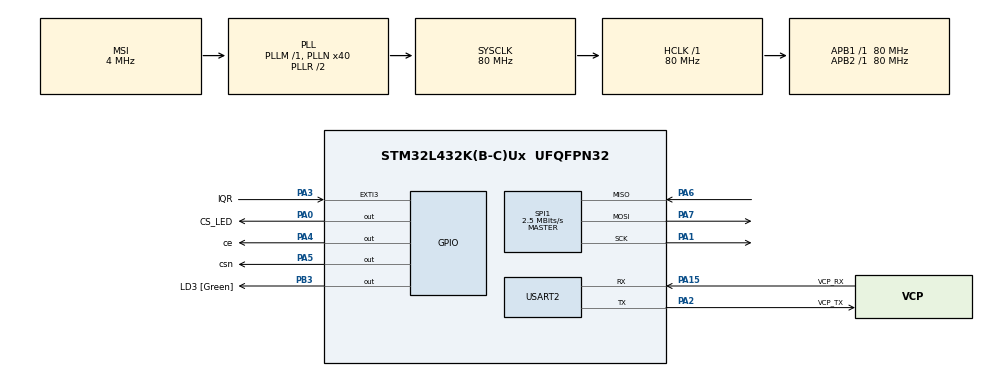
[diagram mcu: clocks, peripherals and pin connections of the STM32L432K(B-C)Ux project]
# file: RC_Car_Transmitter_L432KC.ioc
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Dma.Request0=USART2_RX
Dma.USART2_RX.0.Direction=DMA_PERIPH_TO_MEMORY
Dma.USART2_RX.0.Instance=DMA1_Channel6
Dma.USART2_RX.0.MemDataAlignment=DMA_MDATAALIGN_BYTE
Dma.USART2_RX.0.MemInc=DMA_MINC_ENABLE
Dma.USART2_RX.0.Mode=DMA_NORMAL
Dma.USART2_RX.0.PeriphDataAlignment=DMA_PDATAALIGN_BYTE
Dma.USART2_RX.0.PeriphInc=DMA_PINC_DISABLE
Dma.USART2_RX.0.Priority=DMA_PRIORITY_LOW
Mcu.Family=STM32L4
Mcu.Name=STM32L432K(B-C)Ux
Mcu.Package=UFQFPN32
NVIC.DMA1_Channel6_IRQn=true\:0\:0\:false\:false\:true\:false\:true\:true
NVIC.PriorityGroup=NVIC_PRIORITYGROUP_4
NVIC.TIM6_DAC_IRQn=true\:0\:0\:false\:false\:true\:true\:true\:true
NVIC.USART2_IRQn=true\:0\:0\:false\:false\:true\:true\:true\:true
PA0.GPIO_Label=CS_LED
PA0.PinState=GPIO_PIN_SET
PA0.Signal=GPIO_Output
PA1.Mode=Full_Duplex_Master
PA1.Signal=SPI1_SCK
PA13\ (JTMS-SWDIO).GPIO_Label=SWDIO
PA13\ (JTMS-SWDIO).Mode=Serial_Wire
PA13\ (JTMS-SWDIO).Signal=SYS_JTMS-SWDIO
PA14\ (JTCK-SWCLK).GPIO_Label=SWCLK
PA14\ (JTCK-SWCLK).Mode=Serial_Wire
PA14\ (JTCK-SWCLK).Signal=SYS_JTCK-SWCLK
PA15\ (JTDI).GPIO_Label=VCP_RX
PA15\ (JTDI).Mode=Asynchronous
PA15\ (JTDI).Signal=USART2_RX
PA2.GPIO_Label=VCP_TX
PA2.Mode=Asynchronous
PA2.Signal=USART2_TX
PA3.GPIO_Label=IQR
PA3.Signal=GPXTI3
PA4.GPIO_Label=ce
PA4.PinState=GPIO_PIN_SET
PA4.Signal=GPIO_Output
PA5.GPIO_Label=csn
PA5.PinState=GPIO_PIN_SET
PA5.Signal=GPIO_Output
PA6.Mode=Full_Duplex_Master
PA6.Signal=SPI1_MISO
PA7.Mode=Full_Duplex_Master
PA7.Signal=SPI1_MOSI
PB3\ (JTDO-TRACESWO).GPIO_Label=LD3 [Green]
PB3\ (JTDO-TRACESWO).Signal=GPIO_Output
PC14-OSC32_IN\ (PC14).Mode=LSE-External-Oscillator
PC14-OSC32_IN\ (PC14).Signal=RCC_OSC32_IN
PC15-OSC32_OUT\ (PC15).Mode=LSE-External-Oscillator
PC15-OSC32_OUT\ (PC15).Signal=RCC_OSC32_OUT
ProjectManager.HeapSize=0x200
ProjectManager.StackSize=0x400
ProjectManager.TargetToolchain=STM32CubeIDE
RCC.AHBFreq_Value=80000000
RCC.APB1Freq_Value=80000000
RCC.APB1TimFreq_Value=80000000
RCC.APB2Freq_Value=80000000
RCC.APB2TimFreq_Value=80000000
RCC.CortexFreq_Value=80000000
RCC.HCLKFreq_Value=80000000
RCC.HSE_VALUE=8000000
RCC.HSI16_VALUE=16000000
RCC.HSI48_VALUE=48000000
RCC.HSI_VALUE=16000000
RCC.MSI_VALUE=4000000
RCC.PLLMUL=RCC_PLLMUL_4
RCC.PLLN=40
RCC.SYSCLKFreq_VALUE=80000000
RCC.SYSCLKSource=RCC_SYSCLKSOURCE_PLLCLK
RCC.VCOOutputFreq_Value=160000000
SPI1.BaudRatePrescaler=SPI_BAUDRATEPRESCALER_32
SPI1.CalculateBaudRate=2.5 MBits/s
SPI1.DataSize=SPI_DATASIZE_8BIT
SPI1.Direction=SPI_DIRECTION_2LINES
SPI1.Mode=SPI_MODE_MASTER
SPI1.VirtualType=VM_MASTER
TIM6.Period=10000
TIM6.Prescaler=80-1
USART2.VirtualMode-Asynchronous=VM_ASYNC
VP_TIM6_VS_ClockSourceINT.Mode=Enable_Timer
board=NUCLEO-L432KC

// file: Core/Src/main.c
/* USER CODE BEGIN Header */
/**
  ******************************************************************************
  * @file           : main.c
  * @brief          : Main program body
  ******************************************************************************
  * @attention
  *
  * Copyright (c) 2025 STMicroelectronics.
  * All rights reserved.
  *
  * This software is licensed under terms that can be found in the LICENSE file
  * in the root directory of this software component.
  * If no LICENSE file comes with this software, it is provided AS-IS.
  *
  ******************************************************************************
  */
/* USER CODE END Header */
#include "main.h"

/* USER CODE BEGIN Includes */
#include <string.h>
#include <stdint.h>
#include <stdio.h>
#include <stdlib.h>
#include "NRF24_conf.h"
#include "NRF24_reg_addresses.h"
#include "NRF24.h"
#include "delay.h" // Include delay.h for delay functions
#include "commandReader.h"
/* USER CODE END Includes */

/* USER CODE BEGIN PTD */
#define PLD_S 32
struct UART_Comm
{
	uint8_t RxCmd[PLD_S]; // This will store the received command as a string, which will be parsed to determine the action and parameters to store under the DataToReceive structure.
	uint8_t cmdToTransmit[PLD_S]; // This will store the command to be transmitted as a string, which will be constructed from the DataToTransmit structure and sent through NRF24L01.
	uint8_t UART_Rx_Buffer[PLD_S]; // This buffer will be used for DMA reception of UART data, which will then be copied to RxCmd for processing.
	uint8_t TxData[PLD_S]; // This will store the data to be transmitted as a string, which will be constructed from the DataToTransmit structure and sent through UART.
};

struct RC_CarDataRx
{
   // Disregarding the cmd, all the variables byte size should add up to 18-20bytes
	uint8_t cmd[PLD_S]; // Will grab all the structure variables compress to string and transmit through NRF24L01
	int32_t a_x; // Store the acceleration in x-axis
    int32_t a_y; // Store the acceleration in y-axis
    int32_t a_z; // Store the acceleration in z-axis
    uint16_t distance_cm; // Store the distance measurement in centimeters
    char stationaryFlag;  // This is Flag to indicate back to the transmitter whether there is a stationary object when the car is accelerating.
    uint32_t timestamp; // in milliseconds

};

typedef enum
{
    STATE_WAIT,
    STATE_TRANSMIT,
	STATE_TEST_UART,
	STATE_RECEIVE
} FSM_State;
FSM_State current_state = STATE_WAIT;
/* USER CODE END PTD */

SPI_HandleTypeDef hspi1;

TIM_HandleTypeDef htim6;

UART_HandleTypeDef huart2;
DMA_HandleTypeDef hdma_usart2_rx;

/* USER CODE BEGIN PV */

//////  Commands Declarations  //////////////////////////////////////
struct RC_CarDataRx RC_Data = {0};    // This initializes all members to 0
struct UART_Comm Msg = {0}; // This initializes all members to 0

/* LED SPI Control */
#define OFF_LED_EXT     0x00
#define BLUE_LED_EXT    0x01
#define YELLOW_LED_EXT  0x02
#define GREEN_LED_EXT   0x04
#define RED_LED_EXT     0x08

// Payload Size

/* nRF24L01+ SPI Control */
uint8_t tx_addr[5] = {0x45, 0x55, 0x67, 0x10, 0x21};
uint16_t data = 0;
uint8_t toggleFlag = 0;

// For UART DMA reception
uint8_t UART2_rxBuffer[PLD_S]; // DMA buffer

/* USER CODE END PV */

void SystemClock_Config(void);
static void MX_GPIO_Init(void);
static void MX_DMA_Init(void);
static void MX_SPI1_Init(void);
static void MX_USART2_UART_Init(void);
static void MX_TIM6_Init(void);
/* USER CODE BEGIN PFP */
void nrf24_setup(void);
void shift_register_send(uint8_t data);

/* USER CODE END PFP */

/* USER CODE BEGIN 0 */
//  Set up NRF24L01

/* USER CODE END 0 */

int main(void)
{

  /* MCU Configuration--------------------------------------------------------*/

  /* Reset of all peripherals, Initializes the Flash interface and the Systick. */
  HAL_Init();

  /* Configure the system clock */
  SystemClock_Config();

  /* Initialize all configured peripherals */
  MX_GPIO_Init();
  MX_DMA_Init();
  MX_SPI1_Init();
  MX_USART2_UART_Init();
  MX_TIM6_Init();
  /* USER CODE BEGIN 2 */

  HAL_UART_Receive_DMA(&huart2, Msg.UART_Rx_Buffer, PLD_S); // Start UART reception in DMA mode, storing received data in the buffer for processing

  // Start Timer 6 in interrupt mode for LED toggling
  HAL_TIM_Base_Start_IT(&htim6);

  //  Set up NRF24L01
  shift_register_send(OFF_LED_EXT); // Only LED A ON
  HAL_Delay(500);
  shift_register_send(BLUE_LED_EXT); // Only LED A ON

  nrf24_setup();

  shift_register_send(OFF_LED_EXT); // Only LED A ON
  HAL_Delay(500);

  /* USER CODE END 2 */

  /* Infinite loop */
  while (1)
  {

    /* USER CODE BEGIN 3 */
	  switch (current_state)
	  {
	  case STATE_WAIT:
		  // Just wait firm-ever :)
		  // Just had to be very cheesey :p
		  break;

	  case STATE_TEST_UART:
		  // Here I will print a message to test UART functionality
		  char* test_msg = "UART DMA RX Test Successful!\r\n";
		  HAL_UART_Transmit(&huart2, (uint8_t*)test_msg, strlen(test_msg), HAL_MAX_DELAY);
		  HAL_Delay(1000);
//		  current_state = STATE_WAIT; // Return to WAIT state
		  break;

	  case STATE_RECEIVE:
		  // After transmitting data, the nRF24L01+ will switch to receive mode to wait for the RC car data,
		  // I'm gonna test the polling method.
		  if (nrf24_data_available())
		  {
			  shift_register_send(BLUE_LED_EXT || RED_LED_EXT); // Turn on LED when receiving
			  char RxData[PLD_S] = {0};
			  nrf24_receive(RC_Data.cmd, sizeof(RC_Data.cmd));
			  nrf24_clear_rx_dr(); // Clear the RX_DR flag after receiving data
			  memcpy(RxData, RC_Data.cmd, PLD_S);
			  uint8_t comma_index = 0;
			  char timeStamp_str[16] = {0};
			  char distance_str[16] = {0};
			  char a_x_str[16] = {0};
			  char a_y_str[16] = {0};
			  char a_z_str[16] = {0};
			  parse_uart_value(RxData, timeStamp_str,&comma_index);
			  parse_uart_value(RxData, distance_str,&comma_index);
			  parse_uart_value(RxData, a_x_str,&comma_index);
			  parse_uart_value(RxData, a_y_str,&comma_index);
			  parse_uart_value(RxData, a_z_str,&comma_index);
			  // The data received will be converted to the corresponding data type and stored in the Receive structure for further processing or decision making.
			  // For troubleshooting purpose.
			  RC_Data.timestamp = (uint32_t)atoi(timeStamp_str);
			  RC_Data.distance_cm = (uint16_t)atoi(distance_str);
			  RC_Data.a_x = (int32_t)atoi(a_x_str);
			  RC_Data.a_y = (int32_t)atoi(a_y_str);
			  RC_Data.a_z = (int32_t)atoi(a_z_str);
			  // Transmit the data to UART TX, so gui can read the data through serial communication and display it on the GUI.
//			  uint16_t len = snprintf((char *)Msg.TxData, sizeof(Msg.TxData), "Timestamp: %lu ms, Distance: %u cm, Acceleration: (%ld, %ld, %ld) mg\r\n", Receive.timestamp, Receive.distance_cm, Receive.a_x, Receive.a_y, Receive.a_z);
			  // Send the Receive.cmd
			  memcpy(Msg.TxData, RC_Data.cmd, PLD_S);
//			  HAL_UART_Transmit(&huart2, Msg.TxData, strlen((char *)Msg.TxData), HAL_MAX_DELAY);
			  current_state = STATE_WAIT; // Go back to wait state after receiving data
		  }
		  // Stay in receive mode while waiting for data

		  break;

	  case STATE_TRANSMIT:
		  shift_register_send(YELLOW_LED_EXT || RED_LED_EXT); // Only LED A ON
		  nrf24_transmit(Msg.RxCmd, sizeof(Msg.RxCmd));
		  current_state = STATE_WAIT;
		  break;
	  }
  }
  /* USER CODE END 3 */
}

void SystemClock_Config(void)
{
  RCC_OscInitTypeDef RCC_OscInitStruct = {0};
  RCC_ClkInitTypeDef RCC_ClkInitStruct = {0};

  /** Configure the main internal regulator output voltage
  */
  if (HAL_PWREx_ControlVoltageScaling(PWR_REGULATOR_VOLTAGE_SCALE1) != HAL_OK)
  {
    Error_Handler();
  }

  /** Configure LSE Drive Capability
  */
  HAL_PWR_EnableBkUpAccess();
  __HAL_RCC_LSEDRIVE_CONFIG(RCC_LSEDRIVE_LOW);

  /** Initializes the RCC Oscillators according to the specified parameters
  * in the RCC_OscInitTypeDef structure.
  */
  RCC_OscInitStruct.OscillatorType = RCC_OSCILLATORTYPE_LSE|RCC_OSCILLATORTYPE_MSI;
  RCC_OscInitStruct.LSEState = RCC_LSE_ON;
  RCC_OscInitStruct.MSIState = RCC_MSI_ON;
  RCC_OscInitStruct.MSICalibrationValue = 0;
  RCC_OscInitStruct.MSIClockRange = RCC_MSIRANGE_6;
  RCC_OscInitStruct.PLL.PLLState = RCC_PLL_ON;
  RCC_OscInitStruct.PLL.PLLSource = RCC_PLLSOURCE_MSI;
  RCC_OscInitStruct.PLL.PLLM = 1;
  RCC_OscInitStruct.PLL.PLLN = 40;
  RCC_OscInitStruct.PLL.PLLP = RCC_PLLP_DIV7;
  RCC_OscInitStruct.PLL.PLLQ = RCC_PLLQ_DIV2;
  RCC_OscInitStruct.PLL.PLLR = RCC_PLLR_DIV2;
  if (HAL_RCC_OscConfig(&RCC_OscInitStruct) != HAL_OK)
  {
    Error_Handler();
  }

  /** Initializes the CPU, AHB and APB buses clocks
  */
  RCC_ClkInitStruct.ClockType = RCC_CLOCKTYPE_HCLK|RCC_CLOCKTYPE_SYSCLK
                              |RCC_CLOCKTYPE_PCLK1|RCC_CLOCKTYPE_PCLK2;
  RCC_ClkInitStruct.SYSCLKSource = RCC_SYSCLKSOURCE_PLLCLK;
  RCC_ClkInitStruct.AHBCLKDivider = RCC_SYSCLK_DIV1;
  RCC_ClkInitStruct.APB1CLKDivider = RCC_HCLK_DIV1;
  RCC_ClkInitStruct.APB2CLKDivider = RCC_HCLK_DIV1;

  if (HAL_RCC_ClockConfig(&RCC_ClkInitStruct, FLASH_LATENCY_4) != HAL_OK)
  {
    Error_Handler();
  }

  /** Enable MSI Auto calibration
  */
  HAL_RCCEx_EnableMSIPLLMode();
}

static void MX_SPI1_Init(void)
{

  /* SPI1 parameter configuration*/
  hspi1.Instance = SPI1;
  hspi1.Init.Mode = SPI_MODE_MASTER;
  hspi1.Init.Direction = SPI_DIRECTION_2LINES;
  hspi1.Init.DataSize = SPI_DATASIZE_8BIT;
  hspi1.Init.CLKPolarity = SPI_POLARITY_LOW;
  hspi1.Init.CLKPhase = SPI_PHASE_1EDGE;
  hspi1.Init.NSS = SPI_NSS_SOFT;
  hspi1.Init.BaudRatePrescaler = SPI_BAUDRATEPRESCALER_32;
  hspi1.Init.FirstBit = SPI_FIRSTBIT_MSB;
  hspi1.Init.TIMode = SPI_TIMODE_DISABLE;
  hspi1.Init.CRCCalculation = SPI_CRCCALCULATION_DISABLE;
  hspi1.Init.CRCPolynomial = 7;
  hspi1.Init.CRCLength = SPI_CRC_LENGTH_DATASIZE;
  hspi1.Init.NSSPMode = SPI_NSS_PULSE_ENABLE;
  if (HAL_SPI_Init(&hspi1) != HAL_OK)
  {
    Error_Handler();
  }

}

static void MX_TIM6_Init(void)
{

  TIM_MasterConfigTypeDef sMasterConfig = {0};

  htim6.Instance = TIM6;
  htim6.Init.Prescaler = 80-1;
  htim6.Init.CounterMode = TIM_COUNTERMODE_UP;
  htim6.Init.Period = 10000-1;
  htim6.Init.AutoReloadPreload = TIM_AUTORELOAD_PRELOAD_DISABLE;
  if (HAL_TIM_Base_Init(&htim6) != HAL_OK)
  {
    Error_Handler();
  }
  sMasterConfig.MasterOutputTrigger = TIM_TRGO_RESET;
  sMasterConfig.MasterSlaveMode = TIM_MASTERSLAVEMODE_DISABLE;
  if (HAL_TIMEx_MasterConfigSynchronization(&htim6, &sMasterConfig) != HAL_OK)
  {
    Error_Handler();
  }
  /* USER CODE BEGIN TIM6_Init 2 */
  /* Enable TIM6 global interrupt */
  HAL_NVIC_SetPriority(TIM6_DAC_IRQn, 0, 0);
  HAL_NVIC_EnableIRQ(TIM6_DAC_IRQn);
  /* USER CODE END TIM6_Init 2 */

}

static void MX_USART2_UART_Init(void)
{

  huart2.Instance = USART2;
  huart2.Init.BaudRate = 115200;
  huart2.Init.WordLength = UART_WORDLENGTH_8B;
  huart2.Init.StopBits = UART_STOPBITS_1;
  huart2.Init.Parity = UART_PARITY_NONE;
  huart2.Init.Mode = UART_MODE_TX_RX;
  huart2.Init.HwFlowCtl = UART_HWCONTROL_NONE;
  huart2.Init.OverSampling = UART_OVERSAMPLING_16;
  huart2.Init.OneBitSampling = UART_ONE_BIT_SAMPLE_DISABLE;
  huart2.AdvancedInit.AdvFeatureInit = UART_ADVFEATURE_NO_INIT;
  if (HAL_UART_Init(&huart2) != HAL_OK)
  {
    Error_Handler();
  }

}

static void MX_DMA_Init(void)
{

  /* DMA controller clock enable */
  __HAL_RCC_DMA1_CLK_ENABLE();

  /* DMA interrupt init */
  /* DMA1_Channel6_IRQn interrupt configuration */
  HAL_NVIC_SetPriority(DMA1_Channel6_IRQn, 0, 0);
  HAL_NVIC_EnableIRQ(DMA1_Channel6_IRQn);

}

static void MX_GPIO_Init(void)
{
  GPIO_InitTypeDef GPIO_InitStruct = {0};

  /* GPIO Ports Clock Enable */
  __HAL_RCC_GPIOC_CLK_ENABLE();
  __HAL_RCC_GPIOA_CLK_ENABLE();
  __HAL_RCC_GPIOB_CLK_ENABLE();

  /*Configure GPIO pin Output Level */
  HAL_GPIO_WritePin(GPIOA, CS_LED_Pin|ce_Pin|csn_Pin, GPIO_PIN_SET);

  /*Configure GPIO pin Output Level */
  HAL_GPIO_WritePin(LD3_GPIO_Port, LD3_Pin, GPIO_PIN_RESET);

  /*Configure GPIO pins : CS_LED_Pin ce_Pin csn_Pin */
  GPIO_InitStruct.Pin = CS_LED_Pin|ce_Pin|csn_Pin;
  GPIO_InitStruct.Mode = GPIO_MODE_OUTPUT_PP;
  GPIO_InitStruct.Pull = GPIO_NOPULL;
  GPIO_InitStruct.Speed = GPIO_SPEED_FREQ_LOW;
  HAL_GPIO_Init(GPIOA, &GPIO_InitStruct);

  /*Configure GPIO pin : IQR_Pin */
  GPIO_InitStruct.Pin = IQR_Pin;
  GPIO_InitStruct.Mode = GPIO_MODE_IT_RISING;
  GPIO_InitStruct.Pull = GPIO_NOPULL;
  HAL_GPIO_Init(IQR_GPIO_Port, &GPIO_InitStruct);

  /*Configure GPIO pin : LD3_Pin */
  GPIO_InitStruct.Pin = LD3_Pin;
  GPIO_InitStruct.Mode = GPIO_MODE_OUTPUT_PP;
  GPIO_InitStruct.Pull = GPIO_NOPULL;
  GPIO_InitStruct.Speed = GPIO_SPEED_FREQ_LOW;
  HAL_GPIO_Init(LD3_GPIO_Port, &GPIO_InitStruct);

}

/* USER CODE BEGIN 4 */

void HAL_TIM_PeriodElapsedCallback(TIM_HandleTypeDef *htim)
{
	if(htim->Instance == TIM6)
	{
		// Timer toggles every 10ms
		// Use this for timeout mechanism when waiting for receive data
		if (toggleFlag == 0)
		{
			// To switch to transmitt state
			toggleFlag = 1;
			shift_register_send(YELLOW_LED_EXT); // Turn on LED when waiting for data, indicating timeout if it stays on for too long
//			nrf24_stop_listen();
			// After setting listen mode, it will go to wait until there is UART interrupt to switch to transmit state, or there is data received through NRF24L01 to switch to receive state.
//			current_state = STATE_WAIT;

		}
		else if (toggleFlag == 1)
		{
			// to switch to receive state
			toggleFlag = 0;
			shift_register_send(BLUE_LED_EXT); // Turn off LED after timeout, indicating ready to receive data again
//			nrf24_listen(); // Switch back to listen mode to wait for data again
//			current_state = STATE_RECEIVE; // Switch to receive state to wait for data after timeout
		}
	}
}

void HAL_GPIO_EXTI_Callback(uint16_t GPIO_Pin)
{
    if (GPIO_Pin == IQR_Pin)
    {
		// IRQ interrupt handling for the NRF24L01
    	// When in receive mode and data arrives, the IRQ pin will trigger this interrupt
    	// This allows immediate data reception without waiting for polling
    	if (current_state == STATE_RECEIVE)
    	{
    		// The IRQ indicates data is ready in RX FIFO
    		// The main loop will handle the actual data reception
    		// We just ensure we stay in RECEIVE state to process it
    		toggleFlag = 0; // Reset timeout counter since we got an IRQ
    	}
    }

}

void HAL_UART_RxCpltCallback(UART_HandleTypeDef *huart)
{
    if (huart->Instance == USART2)
    {
    	shift_register_send(GREEN_LED_EXT);
    	// Copy the received data to your message buffer
        memcpy(Msg.RxCmd, Msg.UART_Rx_Buffer, PLD_S);
        // Restart DMA reception for next message
        HAL_UART_Receive_DMA(&huart2, Msg.UART_Rx_Buffer, PLD_S);
		shift_register_send(OFF_LED_EXT); // Only LED A ON
		current_state = STATE_TRANSMIT;
    }
}

void shift_register_send(uint8_t data)
{
	HAL_GPIO_WritePin(CS_LED_GPIO_Port, CS_LED_Pin, GPIO_PIN_RESET);
	HAL_SPI_Transmit(&hspi1, &data, 1, HAL_MAX_DELAY);
	HAL_GPIO_WritePin(CS_LED_GPIO_Port, CS_LED_Pin, GPIO_PIN_SET);
}

void nrf24_setup(void)
{
	// Add your NRF24L01 setup code here if needed
	  ce_high();

	  HAL_Delay(5);

	  ce_low();

	  nrf24_init();

	  nrf24_stop_listen();

	  nrf24_auto_ack_all(auto_ack);
	  nrf24_en_ack_pld(disable);
	  nrf24_dpl(disable);

	  nrf24_set_crc(no_crc, _1byte);

	  nrf24_tx_pwr(_0dbm);
	  nrf24_data_rate(_1mbps);
	  nrf24_set_channel(90);
	  nrf24_set_addr_width(5);

	  nrf24_set_rx_dpl(0, disable);
	  nrf24_set_rx_dpl(1, disable);
	  nrf24_set_rx_dpl(2, disable);
	  nrf24_set_rx_dpl(3, disable);
	  nrf24_set_rx_dpl(4, disable);
	  nrf24_set_rx_dpl(5, disable);

	  nrf24_pipe_pld_size(0, PLD_S);

	  nrf24_auto_retr_delay(4);
	  nrf24_auto_retr_limit(10);

	  nrf24_open_tx_pipe(tx_addr);
	  nrf24_open_rx_pipe(0, tx_addr);
	  ce_high();

}
/* USER CODE END 4 */

void Error_Handler(void)
{
  __disable_irq();
  while (1)
  {
  }
}
